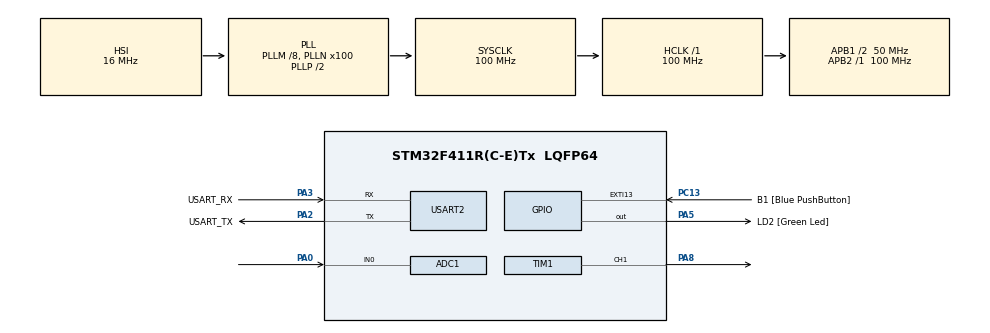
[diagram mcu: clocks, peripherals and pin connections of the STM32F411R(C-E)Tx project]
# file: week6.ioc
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ADC1.Channel-1\#ChannelRegularConversion=ADC_CHANNEL_0
ADC1.ExternalTrigConv=ADC_EXTERNALTRIGCONV_T3_TRGO
ADC1.NbrOfConversionFlag=1
ADC1.Rank-1\#ChannelRegularConversion=1
ADC1.SamplingTime-1\#ChannelRegularConversion=ADC_SAMPLETIME_3CYCLES
ADC1.master=1
Mcu.Family=STM32F4
Mcu.Name=STM32F411R(C-E)Tx
Mcu.Package=LQFP64
NVIC.ADC_IRQn=true\:0\:0\:false\:false\:true\:true\:true
NVIC.PriorityGroup=NVIC_PRIORITYGROUP_0
NVIC.TIM1_TRG_COM_TIM11_IRQn=true\:0\:0\:false\:false\:true\:true\:true
PA0-WKUP.Signal=ADCx_IN0
PA13.GPIO_Label=TMS
PA13.Mode=Serial_Wire
PA13.Signal=SYS_JTMS-SWDIO
PA14.GPIO_Label=TCK
PA14.Mode=Serial_Wire
PA14.Signal=SYS_JTCK-SWCLK
PA2.GPIO_Label=USART_TX
PA2.Mode=Asynchronous
PA2.Signal=USART2_TX
PA3.GPIO_Label=USART_RX
PA3.Mode=Asynchronous
PA3.Signal=USART2_RX
PA5.GPIO_Label=LD2 [Green Led]
PA5.Signal=GPIO_Output
PA8.Signal=S_TIM1_CH1
PB3.GPIO_Label=SWO
PB3.Signal=SYS_JTDO-SWO
PC13-ANTI_TAMP.GPIO_Label=B1 [Blue PushButton]
PC13-ANTI_TAMP.GPIO_ModeDefaultEXTI=GPIO_MODE_IT_FALLING
PC13-ANTI_TAMP.Signal=GPXTI13
PC14-OSC32_IN.Mode=LSE-External-Oscillator
PC14-OSC32_IN.Signal=RCC_OSC32_IN
PC15-OSC32_OUT.Mode=LSE-External-Oscillator
PC15-OSC32_OUT.Signal=RCC_OSC32_OUT
PH0\ -\ OSC_IN.Mode=HSE-External-Clock-Source
PH0\ -\ OSC_IN.Signal=RCC_OSC_IN
PH1\ -\ OSC_OUT.Mode=HSE-External-Clock-Source
PH1\ -\ OSC_OUT.Signal=RCC_OSC_OUT
ProjectManager.HeapSize=0x200
ProjectManager.StackSize=0x400
ProjectManager.TargetToolchain=STM32CubeIDE
RCC.48MHZClocksFreq_Value=50000000
RCC.AHBFreq_Value=100000000
RCC.APB1CLKDivider=RCC_HCLK_DIV2
RCC.APB1Freq_Value=50000000
RCC.APB1TimFreq_Value=100000000
RCC.APB2Freq_Value=100000000
RCC.APB2TimFreq_Value=100000000
RCC.CortexFreq_Value=100000000
RCC.FLatency-AdvancedSettings=FLASH_LATENCY_3
RCC.HCLKFreq_Value=100000000
RCC.HSE_VALUE=8000000
RCC.HSI_VALUE=16000000
RCC.PLLM=8
RCC.PLLN=100
RCC.SYSCLKFreq_VALUE=100000000
RCC.SYSCLKSource=RCC_SYSCLKSOURCE_PLLCLK
RCC.VCOOutputFreq_Value=200000000
SH.ADCx_IN0.0=ADC1_IN0,IN0
SH.S_TIM1_CH1.0=TIM1_CH1,PWM Generation1 CH1
TIM1.Channel-PWM\ Generation1\ CH1=TIM_CHANNEL_1
TIM1.Period=10000
TIM1.Prescaler=0
TIM11.Prescaler=99
TIM3.Period=1000
TIM3.Prescaler=99
TIM3.TIM_MasterOutputTrigger=TIM_TRGO_UPDATE
TIM3.TIM_MasterSlaveMode=TIM_MASTERSLAVEMODE_DISABLE
USART2.VirtualMode=VM_ASYNC
VP_TIM11_VS_ClockSourceINT.Mode=Enable_Timer
VP_TIM1_VS_ClockSourceINT.Mode=Internal
VP_TIM3_VS_ClockSourceINT.Mode=Internal
board=NUCLEO-F411RE

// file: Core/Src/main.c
/* USER CODE BEGIN Header */
/**
 ******************************************************************************
 * @file           : main.c
 * @brief          : Main program body
 ******************************************************************************
 * @attention
 *
 * <h2><center>&copy; Copyright (c) 2021 STMicroelectronics.
 * All rights reserved.</center></h2>
 *
 * This software component is licensed by ST under BSD 3-Clause license,
 * the "License"; You may not use this file except in compliance with the
 * License. You may obtain a copy of the License at:
 *                        opensource.org/licenses/BSD-3-Clause
 *
 ******************************************************************************
 */
/* USER CODE END Header */
#include "main.h"

ADC_HandleTypeDef hadc1;

TIM_HandleTypeDef htim1;
TIM_HandleTypeDef htim3;
TIM_HandleTypeDef htim11;

UART_HandleTypeDef huart2;

/* USER CODE BEGIN PV */

uint8_t ADCUpdateFlag = 0;
//Store ADC Value
uint16_t ADCFeedBack = 0;

uint16_t PWMOut = 3000;

uint64_t _micro = 0;
uint64_t TimeOutputLoop = 0;
int VoltageOut = 1;
float Error;
int Kp=10;
int Ki=1;
float LastError;
float Voltage;
float ADCFeedBack1;
float VoltageShow;
/* USER CODE END PV */

void SystemClock_Config(void);
static void MX_GPIO_Init(void);
static void MX_USART2_UART_Init(void);
static void MX_ADC1_Init(void);
static void MX_TIM1_Init(void);
static void MX_TIM11_Init(void);
static void MX_TIM3_Init(void);
/* USER CODE BEGIN PFP */
uint64_t micros();
/* USER CODE END PFP */

int main(void)
{

  /* MCU Configuration--------------------------------------------------------*/

  /* Reset of all peripherals, Initializes the Flash interface and the Systick. */
  HAL_Init();

  /* Configure the system clock */
  SystemClock_Config();

  /* Initialize all configured peripherals */
  MX_GPIO_Init();
  MX_USART2_UART_Init();
  MX_ADC1_Init();
  MX_TIM1_Init();
  MX_TIM11_Init();
  MX_TIM3_Init();
  /* USER CODE BEGIN 2 */
	//ADC START
	HAL_ADC_Start_IT(&hadc1);
	HAL_TIM_Base_Start(&htim3);
	// start pwm
	HAL_TIM_Base_Start(&htim1);
	HAL_TIM_PWM_Start(&htim1, TIM_CHANNEL_1);
	// start micros
	HAL_TIM_Base_Start_IT(&htim11);

  /* USER CODE END 2 */

  /* Infinite loop */
	while (1)
	{

    /* USER CODE BEGIN 3 */

		//1 Khz Loop
		if (micros() - TimeOutputLoop >= 1000)//uS
		{
			TimeOutputLoop = micros();
			// #001
			//Voltage = (ADCFeedBack*3.3)/4096;
			ADCFeedBack1 =  (VoltageOut*4096)/3.3;
			Error = ADCFeedBack1 - ADCFeedBack ;
			PWMOut +=Kp*(Error - LastError)+Ki*Error;
			LastError=Error;
			__HAL_TIM_SET_COMPARE(&htim1, TIM_CHANNEL_1, PWMOut);
			VoltageShow =(ADCFeedBack*3.3)/4096;

		}

		if (ADCUpdateFlag)
		{
			ADCUpdateFlag = 0;
			//#002
		}

	}
  /* USER CODE END 3 */
}

void SystemClock_Config(void)
{
  RCC_OscInitTypeDef RCC_OscInitStruct = {0};
  RCC_ClkInitTypeDef RCC_ClkInitStruct = {0};

  /** Configure the main internal regulator output voltage
  */
  __HAL_RCC_PWR_CLK_ENABLE();
  __HAL_PWR_VOLTAGESCALING_CONFIG(PWR_REGULATOR_VOLTAGE_SCALE1);
  /** Initializes the RCC Oscillators according to the specified parameters
  * in the RCC_OscInitTypeDef structure.
  */
  RCC_OscInitStruct.OscillatorType = RCC_OSCILLATORTYPE_HSI;
  RCC_OscInitStruct.HSIState = RCC_HSI_ON;
  RCC_OscInitStruct.HSICalibrationValue = RCC_HSICALIBRATION_DEFAULT;
  RCC_OscInitStruct.PLL.PLLState = RCC_PLL_ON;
  RCC_OscInitStruct.PLL.PLLSource = RCC_PLLSOURCE_HSI;
  RCC_OscInitStruct.PLL.PLLM = 8;
  RCC_OscInitStruct.PLL.PLLN = 100;
  RCC_OscInitStruct.PLL.PLLP = RCC_PLLP_DIV2;
  RCC_OscInitStruct.PLL.PLLQ = 4;
  if (HAL_RCC_OscConfig(&RCC_OscInitStruct) != HAL_OK)
  {
    Error_Handler();
  }
  /** Initializes the CPU, AHB and APB buses clocks
  */
  RCC_ClkInitStruct.ClockType = RCC_CLOCKTYPE_HCLK|RCC_CLOCKTYPE_SYSCLK
                              |RCC_CLOCKTYPE_PCLK1|RCC_CLOCKTYPE_PCLK2;
  RCC_ClkInitStruct.SYSCLKSource = RCC_SYSCLKSOURCE_PLLCLK;
  RCC_ClkInitStruct.AHBCLKDivider = RCC_SYSCLK_DIV1;
  RCC_ClkInitStruct.APB1CLKDivider = RCC_HCLK_DIV2;
  RCC_ClkInitStruct.APB2CLKDivider = RCC_HCLK_DIV1;

  if (HAL_RCC_ClockConfig(&RCC_ClkInitStruct, FLASH_LATENCY_3) != HAL_OK)
  {
    Error_Handler();
  }
}

static void MX_ADC1_Init(void)
{

  ADC_ChannelConfTypeDef sConfig = {0};

  /** Configure the global features of the ADC (Clock, Resolution, Data Alignment and number of conversion)
  */
  hadc1.Instance = ADC1;
  hadc1.Init.ClockPrescaler = ADC_CLOCK_SYNC_PCLK_DIV4;
  hadc1.Init.Resolution = ADC_RESOLUTION_12B;
  hadc1.Init.ScanConvMode = DISABLE;
  hadc1.Init.ContinuousConvMode = DISABLE;
  hadc1.Init.DiscontinuousConvMode = DISABLE;
  hadc1.Init.ExternalTrigConvEdge = ADC_EXTERNALTRIGCONVEDGE_RISING;
  hadc1.Init.ExternalTrigConv = ADC_EXTERNALTRIGCONV_T3_TRGO;
  hadc1.Init.DataAlign = ADC_DATAALIGN_RIGHT;
  hadc1.Init.NbrOfConversion = 1;
  hadc1.Init.DMAContinuousRequests = DISABLE;
  hadc1.Init.EOCSelection = ADC_EOC_SINGLE_CONV;
  if (HAL_ADC_Init(&hadc1) != HAL_OK)
  {
    Error_Handler();
  }
  /** Configure for the selected ADC regular channel its corresponding rank in the sequencer and its sample time.
  */
  sConfig.Channel = ADC_CHANNEL_0;
  sConfig.Rank = 1;
  sConfig.SamplingTime = ADC_SAMPLETIME_56CYCLES;
  if (HAL_ADC_ConfigChannel(&hadc1, &sConfig) != HAL_OK)
  {
    Error_Handler();
  }

}

static void MX_TIM1_Init(void)
{

  TIM_ClockConfigTypeDef sClockSourceConfig = {0};
  TIM_MasterConfigTypeDef sMasterConfig = {0};
  TIM_OC_InitTypeDef sConfigOC = {0};
  TIM_BreakDeadTimeConfigTypeDef sBreakDeadTimeConfig = {0};

  htim1.Instance = TIM1;
  htim1.Init.Prescaler = 0;
  htim1.Init.CounterMode = TIM_COUNTERMODE_UP;
  htim1.Init.Period = 10000;
  htim1.Init.ClockDivision = TIM_CLOCKDIVISION_DIV1;
  htim1.Init.RepetitionCounter = 0;
  htim1.Init.AutoReloadPreload = TIM_AUTORELOAD_PRELOAD_ENABLE;
  if (HAL_TIM_Base_Init(&htim1) != HAL_OK)
  {
    Error_Handler();
  }
  sClockSourceConfig.ClockSource = TIM_CLOCKSOURCE_INTERNAL;
  if (HAL_TIM_ConfigClockSource(&htim1, &sClockSourceConfig) != HAL_OK)
  {
    Error_Handler();
  }
  if (HAL_TIM_PWM_Init(&htim1) != HAL_OK)
  {
    Error_Handler();
  }
  sMasterConfig.MasterOutputTrigger = TIM_TRGO_RESET;
  sMasterConfig.MasterSlaveMode = TIM_MASTERSLAVEMODE_DISABLE;
  if (HAL_TIMEx_MasterConfigSynchronization(&htim1, &sMasterConfig) != HAL_OK)
  {
    Error_Handler();
  }
  sConfigOC.OCMode = TIM_OCMODE_PWM1;
  sConfigOC.Pulse = 0;
  sConfigOC.OCPolarity = TIM_OCPOLARITY_HIGH;
  sConfigOC.OCNPolarity = TIM_OCNPOLARITY_HIGH;
  sConfigOC.OCFastMode = TIM_OCFAST_DISABLE;
  sConfigOC.OCIdleState = TIM_OCIDLESTATE_RESET;
  sConfigOC.OCNIdleState = TIM_OCNIDLESTATE_RESET;
  if (HAL_TIM_PWM_ConfigChannel(&htim1, &sConfigOC, TIM_CHANNEL_1) != HAL_OK)
  {
    Error_Handler();
  }
  sBreakDeadTimeConfig.OffStateRunMode = TIM_OSSR_DISABLE;
  sBreakDeadTimeConfig.OffStateIDLEMode = TIM_OSSI_DISABLE;
  sBreakDeadTimeConfig.LockLevel = TIM_LOCKLEVEL_OFF;
  sBreakDeadTimeConfig.DeadTime = 0;
  sBreakDeadTimeConfig.BreakState = TIM_BREAK_DISABLE;
  sBreakDeadTimeConfig.BreakPolarity = TIM_BREAKPOLARITY_HIGH;
  sBreakDeadTimeConfig.AutomaticOutput = TIM_AUTOMATICOUTPUT_DISABLE;
  if (HAL_TIMEx_ConfigBreakDeadTime(&htim1, &sBreakDeadTimeConfig) != HAL_OK)
  {
    Error_Handler();
  }
  HAL_TIM_MspPostInit(&htim1);

}

static void MX_TIM3_Init(void)
{

  TIM_ClockConfigTypeDef sClockSourceConfig = {0};
  TIM_MasterConfigTypeDef sMasterConfig = {0};

  htim3.Instance = TIM3;
  htim3.Init.Prescaler = 99;
  htim3.Init.CounterMode = TIM_COUNTERMODE_UP;
  htim3.Init.Period = 1000;
  htim3.Init.ClockDivision = TIM_CLOCKDIVISION_DIV1;
  htim3.Init.AutoReloadPreload = TIM_AUTORELOAD_PRELOAD_DISABLE;
  if (HAL_TIM_Base_Init(&htim3) != HAL_OK)
  {
    Error_Handler();
  }
  sClockSourceConfig.ClockSource = TIM_CLOCKSOURCE_INTERNAL;
  if (HAL_TIM_ConfigClockSource(&htim3, &sClockSourceConfig) != HAL_OK)
  {
    Error_Handler();
  }
  sMasterConfig.MasterOutputTrigger = TIM_TRGO_UPDATE;
  sMasterConfig.MasterSlaveMode = TIM_MASTERSLAVEMODE_DISABLE;
  if (HAL_TIMEx_MasterConfigSynchronization(&htim3, &sMasterConfig) != HAL_OK)
  {
    Error_Handler();
  }

}

static void MX_TIM11_Init(void)
{

  htim11.Instance = TIM11;
  htim11.Init.Prescaler = 99;
  htim11.Init.CounterMode = TIM_COUNTERMODE_UP;
  htim11.Init.Period = 65535;
  htim11.Init.ClockDivision = TIM_CLOCKDIVISION_DIV1;
  htim11.Init.AutoReloadPreload = TIM_AUTORELOAD_PRELOAD_DISABLE;
  if (HAL_TIM_Base_Init(&htim11) != HAL_OK)
  {
    Error_Handler();
  }

}

static void MX_USART2_UART_Init(void)
{

  huart2.Instance = USART2;
  huart2.Init.BaudRate = 115200;
  huart2.Init.WordLength = UART_WORDLENGTH_8B;
  huart2.Init.StopBits = UART_STOPBITS_1;
  huart2.Init.Parity = UART_PARITY_NONE;
  huart2.Init.Mode = UART_MODE_TX_RX;
  huart2.Init.HwFlowCtl = UART_HWCONTROL_NONE;
  huart2.Init.OverSampling = UART_OVERSAMPLING_16;
  if (HAL_UART_Init(&huart2) != HAL_OK)
  {
    Error_Handler();
  }

}

static void MX_GPIO_Init(void)
{
  GPIO_InitTypeDef GPIO_InitStruct = {0};

  /* GPIO Ports Clock Enable */
  __HAL_RCC_GPIOC_CLK_ENABLE();
  __HAL_RCC_GPIOH_CLK_ENABLE();
  __HAL_RCC_GPIOA_CLK_ENABLE();
  __HAL_RCC_GPIOB_CLK_ENABLE();

  /*Configure GPIO pin Output Level */
  HAL_GPIO_WritePin(LD2_GPIO_Port, LD2_Pin, GPIO_PIN_RESET);

  /*Configure GPIO pin : B1_Pin */
  GPIO_InitStruct.Pin = B1_Pin;
  GPIO_InitStruct.Mode = GPIO_MODE_IT_FALLING;
  GPIO_InitStruct.Pull = GPIO_NOPULL;
  HAL_GPIO_Init(B1_GPIO_Port, &GPIO_InitStruct);

  /*Configure GPIO pin : LD2_Pin */
  GPIO_InitStruct.Pin = LD2_Pin;
  GPIO_InitStruct.Mode = GPIO_MODE_OUTPUT_PP;
  GPIO_InitStruct.Pull = GPIO_NOPULL;
  GPIO_InitStruct.Speed = GPIO_SPEED_FREQ_LOW;
  HAL_GPIO_Init(LD2_GPIO_Port, &GPIO_InitStruct);

}

/* USER CODE BEGIN 4 */

void HAL_ADC_ConvCpltCallback(ADC_HandleTypeDef *hadc)
{
	ADCFeedBack = HAL_ADC_GetValue(&hadc1);
	ADCUpdateFlag = 1;
}
void HAL_TIM_PeriodElapsedCallback(TIM_HandleTypeDef *htim)
{
	if (htim == &htim11)
	{
		_micro += 65535;
	}
}

__inline__ uint64_t micros()
{
	return _micro + htim11.Instance->CNT;
}
/* USER CODE END 4 */

void Error_Handler(void)
{
	__disable_irq();
	while (1)
	{
	}
}

/************************ (C) COPYRIGHT STMicroelectronics *****END OF FILE****/
